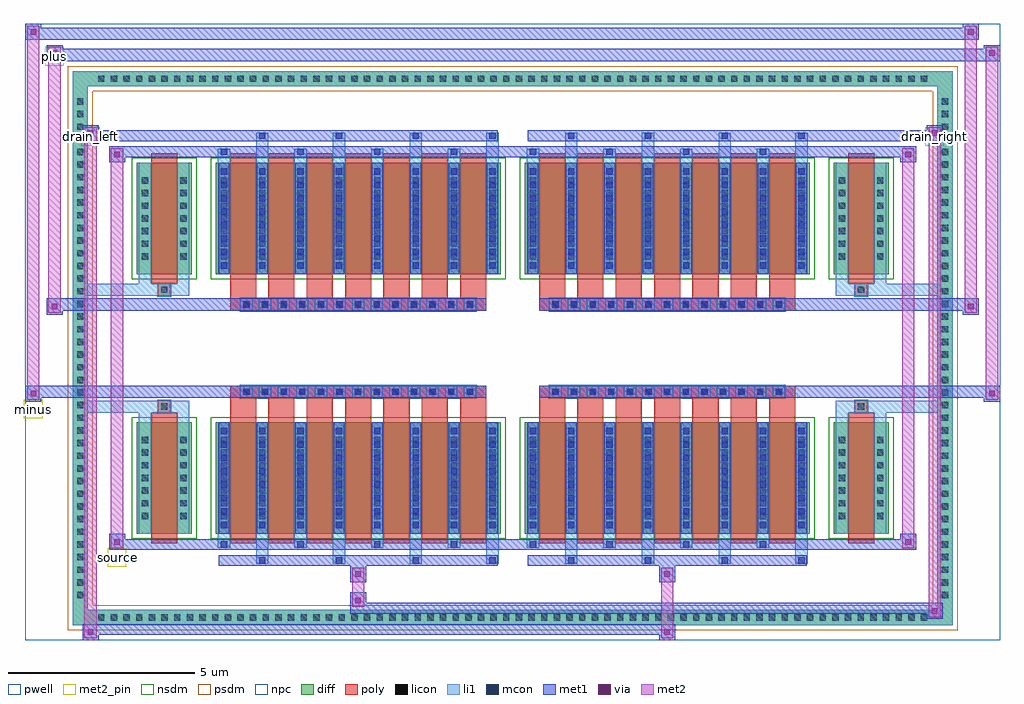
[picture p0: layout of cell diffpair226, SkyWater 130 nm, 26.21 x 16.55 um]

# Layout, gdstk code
import gdstk
lib = gdstk.Library(unit=1e-6, precision=5e-09)
def R(c, l, rs):  # rectangles x0, y0, x1, y1
    for r in rs: c.add(gdstk.rectangle(r[:2], r[2:], *l))
def A(c, l, x, y, w, h, nx, ny, dx, dy):  # array of equal rectangles
    R(c, l, [(x+i*dx, y+j*dy, x+i*dx+w, y+j*dy+h) for i in range(nx) for j in range(ny)])
def P(c, l, *ps):  # polygons
    for p in ps: c.add(gdstk.Polygon(p, *l))
pwell = (64, 44)
diff = (65, 20)
poly = (66, 20)
licon = (66, 44)
li1 = (67, 20)
mcon = (67, 44)
met1 = (68, 20)
via = (68, 44)
met2_pin = (69, 16)
met2 = (69, 20)
nsdm = (93, 44)
psdm = (94, 20)
npc = (95, 20)

diffpair226 = lib.new_cell('diffpair226')
R(diffpair226, pwell, [(-13.09,-7.84,13.09,8.71), (-10.41,-6.03,-0.01,-0.805), (0.01,-6.03,10.41,-0.805), (-10.41,0.805,-0.01,6.03), (0.01,0.805,10.41,6.03)])
A(diffpair226, diff, -11.255, -7.44, 0.41, 0.41, 66, 2, 0.34, 14.47)
A(diffpair226, diff, -11.82, -6.835, 0.41, 0.41, 1, 40, 0, 0.34)
A(diffpair226, diff, 11.41, -6.835, 0.41, 0.41, 1, 40, 0, 0.34)
R(diffpair226, diff, [(-11.255,-7.44,11.255,-7.03), (-11.82,-6.835,-11.41,6.835), (11.41,-6.835,11.82,6.835), (-10.1,-4.985,-8.62,-1.985), (-7.98,-4.985,-0.32,-1.985), (0.32,-4.985,7.98,-1.985), (8.62,-4.985,10.1,-1.985), (-10.1,1.985,-8.62,4.985), (-7.98,1.985,-0.32,4.985), (0.32,1.985,7.98,4.985), (8.62,1.985,10.1,4.985), (-11.255,7.03,11.255,7.44)])
P(diffpair226, diff, [(11.82,7.44),(-11.82,7.44),(-11.82,-7.03),(-11.41,-7.03),(-11.41,7.03),(11.41,7.03),(11.41,-7.03),(-11.41,-7.03),(-11.82,-7.03),(-11.82,-7.44),(11.82,-7.44)])
A(diffpair226, poly, -7.59, -5.235, 0.7, 3.5, 7, 2, 1.03, 6.97)
A(diffpair226, poly, 0.71, -5.235, 0.7, 3.5, 7, 2, 1.03, 6.97)
A(diffpair226, poly, -7.59, -1.735, 0.7, 0.4, 7, 2, 1.03, 3.07)
A(diffpair226, poly, 0.71, -1.735, 0.7, 0.4, 7, 2, 1.03, 3.07)
A(diffpair226, poly, -7.315, -1.335, 0.33, 0.33, 13, 2, 0.5, 2.34)
A(diffpair226, poly, 0.985, -1.335, 0.33, 0.33, 13, 2, 0.5, 2.34)
R(diffpair226, poly, [(-9.71,-5.235,-9.01,-1.735), (9.01,-5.235,9.71,-1.735), (-9.525,-1.735,-9.195,-1.405), (-9.525,-1.735,-9.195,-1.405), (9.195,-1.735,9.525,-1.405), (9.195,-1.735,9.525,-1.405), (-7.59,-1.335,-0.71,-1.005), (0.71,-1.335,7.59,-1.005), (-7.59,1.005,-0.71,1.335), (0.71,1.005,7.59,1.335), (-9.525,1.405,-9.195,1.735), (-9.525,1.405,-9.195,1.735), (9.195,1.405,9.525,1.735), (9.195,1.405,9.525,1.735), (-9.71,1.735,-9.01,5.235), (9.01,1.735,9.71,5.235)])
A(diffpair226, licon, -11.135, -7.32, 0.17, 0.17, 66, 2, 0.34, 14.47)
A(diffpair226, licon, -11.7, -6.715, 0.17, 0.17, 1, 40, 0, 0.34)
A(diffpair226, licon, 11.53, -6.715, 0.17, 0.17, 1, 40, 0, 0.34)
A(diffpair226, licon, -9.96, -4.59, 0.17, 0.17, 1, 7, 0, 0.34)
A(diffpair226, licon, -8.93, -4.59, 0.17, 0.17, 1, 7, 0, 0.34)
A(diffpair226, licon, -7.84, -4.59, 0.17, 0.17, 8, 7, 1.03, 0.34)
A(diffpair226, licon, 0.46, -4.59, 0.17, 0.17, 8, 7, 1.03, 0.34)
A(diffpair226, licon, 8.76, -4.59, 0.17, 0.17, 1, 7, 0, 0.34)
A(diffpair226, licon, 9.79, -4.59, 0.17, 0.17, 1, 7, 0, 0.34)
A(diffpair226, licon, -7.235, -1.255, 0.17, 0.17, 13, 2, 0.5, 2.34)
A(diffpair226, licon, 1.065, -1.255, 0.17, 0.17, 13, 2, 0.5, 2.34)
A(diffpair226, licon, -9.96, 2.38, 0.17, 0.17, 1, 7, 0, 0.34)
A(diffpair226, licon, -8.93, 2.38, 0.17, 0.17, 1, 7, 0, 0.34)
A(diffpair226, licon, -7.84, 2.38, 0.17, 0.17, 8, 7, 1.03, 0.34)
A(diffpair226, licon, 0.46, 2.38, 0.17, 0.17, 8, 7, 1.03, 0.34)
A(diffpair226, licon, 8.76, 2.38, 0.17, 0.17, 1, 7, 0, 0.34)
A(diffpair226, licon, 9.79, 2.38, 0.17, 0.17, 1, 7, 0, 0.34)
R(diffpair226, licon, [(-9.445,-1.655,-9.275,-1.485), (9.275,-1.655,9.445,-1.485), (-9.445,1.485,-9.275,1.655), (9.275,1.485,9.445,1.655)])
A(diffpair226, li1, -11.215, -7.4, 0.33, 0.33, 66, 2, 0.34, 14.47)
A(diffpair226, li1, -11.78, -6.795, 0.33, 0.33, 1, 40, 0, 0.34)
A(diffpair226, li1, 11.45, -6.795, 0.33, 0.33, 1, 40, 0, 0.34)
A(diffpair226, li1, -6.89, -5.79, 0.33, 0.805, 4, 2, 2.06, 10.775)
A(diffpair226, li1, -6.81, -5.79, 0.17, 0.17, 4, 2, 2.06, 11.41)
A(diffpair226, li1, 1.41, -5.79, 0.33, 0.805, 4, 2, 2.06, 10.775)
A(diffpair226, li1, 1.49, -5.79, 0.17, 0.17, 4, 2, 2.06, 11.41)
A(diffpair226, li1, -7.92, -5.36, 0.33, 0.375, 4, 2, 2.06, 10.345)
A(diffpair226, li1, -7.84, -5.36, 0.17, 0.17, 4, 2, 2.06, 10.55)
A(diffpair226, li1, 0.38, -5.36, 0.33, 0.375, 4, 2, 2.06, 10.345)
A(diffpair226, li1, 0.46, -5.36, 0.17, 0.17, 4, 2, 2.06, 10.55)
A(diffpair226, li1, -7.92, -4.985, 0.33, 3, 8, 2, 1.03, 6.97)
A(diffpair226, li1, 0.38, -4.985, 0.33, 3, 8, 2, 1.03, 6.97)
A(diffpair226, li1, -7.84, -4.83, 0.17, 0.17, 8, 8, 1.03, 0.36)
A(diffpair226, li1, -7.84, -4.83, 0.17, 2.69, 8, 2, 1.03, 6.97)
A(diffpair226, li1, 0.46, -4.83, 0.17, 0.17, 8, 8, 1.03, 0.36)
A(diffpair226, li1, 0.46, -4.83, 0.17, 2.69, 8, 2, 1.03, 6.97)
A(diffpair226, li1, -10.04, -4.67, 0.33, 0.33, 1, 7, 0, 0.34)
A(diffpair226, li1, -9.01, -4.67, 0.33, 0.33, 1, 7, 0, 0.34)
A(diffpair226, li1, -7.92, -4.67, 0.33, 0.33, 8, 7, 1.03, 0.34)
A(diffpair226, li1, 0.38, -4.67, 0.33, 0.33, 8, 7, 1.03, 0.34)
A(diffpair226, li1, 8.68, -4.67, 0.33, 0.33, 1, 7, 0, 0.34)
A(diffpair226, li1, 9.71, -4.67, 0.33, 0.33, 1, 7, 0, 0.34)
A(diffpair226, li1, -7.315, -1.335, 0.33, 0.33, 13, 2, 0.5, 2.34)
A(diffpair226, li1, 0.985, -1.335, 0.33, 0.33, 13, 2, 0.5, 2.34)
A(diffpair226, li1, -7.84, 2.14, 0.17, 0.17, 8, 8, 1.03, 0.36)
A(diffpair226, li1, 0.46, 2.14, 0.17, 0.17, 8, 8, 1.03, 0.36)
A(diffpair226, li1, -10.04, 2.3, 0.33, 0.33, 1, 7, 0, 0.34)
A(diffpair226, li1, -9.01, 2.3, 0.33, 0.33, 1, 7, 0, 0.34)
A(diffpair226, li1, -7.92, 2.3, 0.33, 0.33, 8, 7, 1.03, 0.34)
A(diffpair226, li1, 0.38, 2.3, 0.33, 0.33, 8, 7, 1.03, 0.34)
A(diffpair226, li1, 8.68, 2.3, 0.33, 0.33, 1, 7, 0, 0.34)
A(diffpair226, li1, 9.71, 2.3, 0.33, 0.33, 1, 7, 0, 0.34)
R(diffpair226, li1, [(-11.82,-7.44,-11.41,-7.03), (-11.82,-7.44,-11.41,-7.03), (-11.41,-7.44,11.41,-7.03), (11.41,-7.44,11.82,-7.03), (11.41,-7.44,11.82,-7.03), (-11.82,-7.03,-11.41,7.03), (11.41,-7.03,11.82,7.03), (-10.04,-4.985,-9.71,-1.985), (-9.01,-4.985,-8.68,-1.985), (8.68,-4.985,9.01,-1.985), (9.71,-4.985,10.04,-1.985), (-10.04,-1.985,-9.71,-1.405), (-9.01,-1.985,-8.68,-1.405), (8.68,-1.985,9.01,-1.405), (9.71,-1.985,10.04,-1.405), (-11.82,-1.735,-9.525,-1.405), (-10.04,-1.735,-9.525,-1.405), (-9.525,-1.735,-9.195,-1.405), (-9.195,-1.735,-8.68,-1.405), (8.68,-1.735,9.195,-1.405), (9.195,-1.735,9.525,-1.405), (9.195,-1.735,11.82,-1.405), (9.525,-1.735,10.04,-1.405), (-11.82,1.405,-9.525,1.735), (-10.04,1.405,-9.525,1.735), (-10.04,1.405,-9.71,1.985), (-9.525,1.405,-9.195,1.735), (-9.195,1.405,-8.68,1.735), (-9.01,1.405,-8.68,1.985), (8.68,1.405,9.195,1.735), (8.68,1.405,9.01,1.985), (9.195,1.405,9.525,1.735), (9.195,1.405,11.82,1.735), (9.525,1.405,10.04,1.735), (9.71,1.405,10.04,1.985), (-10.04,1.985,-9.71,4.985), (-9.01,1.985,-8.68,4.985), (8.68,1.985,9.01,4.985), (9.71,1.985,10.04,4.985), (-11.82,7.03,-11.41,7.44), (-11.82,7.03,-11.41,7.44), (-11.41,7.03,11.41,7.44), (11.41,7.03,11.82,7.44), (11.41,7.03,11.82,7.44)])
A(diffpair226, mcon, -6.81, -5.79, 0.17, 0.17, 4, 2, 2.06, 11.41)
A(diffpair226, mcon, 1.49, -5.79, 0.17, 0.17, 4, 2, 2.06, 11.41)
A(diffpair226, mcon, -7.84, -5.36, 0.17, 0.17, 4, 2, 2.06, 10.55)
A(diffpair226, mcon, 0.46, -5.36, 0.17, 0.17, 4, 2, 2.06, 10.55)
A(diffpair226, mcon, -7.84, -4.83, 0.17, 0.17, 8, 8, 1.03, 0.36)
A(diffpair226, mcon, 0.46, -4.83, 0.17, 0.17, 8, 8, 1.03, 0.36)
A(diffpair226, mcon, -7.235, -1.255, 0.17, 0.17, 13, 2, 0.5, 2.34)
A(diffpair226, mcon, 1.065, -1.255, 0.17, 0.17, 13, 2, 0.5, 2.34)
A(diffpair226, mcon, -7.84, 2.14, 0.17, 0.17, 8, 8, 1.03, 0.36)
A(diffpair226, mcon, 0.46, 2.14, 0.17, 0.17, 8, 8, 1.03, 0.36)
A(diffpair226, met1, -6.87, -5.85, 0.29, 0.29, 4, 2, 2.06, 11.41)
A(diffpair226, met1, 1.43, -5.85, 0.29, 0.29, 4, 2, 2.06, 11.41)
A(diffpair226, met1, -7.9, -5.42, 0.29, 0.29, 4, 2, 2.06, 10.55)
A(diffpair226, met1, 0.4, -5.42, 0.29, 0.29, 4, 2, 2.06, 10.55)
A(diffpair226, met1, -7.9, -4.985, 0.29, 3, 8, 2, 1.03, 6.97)
A(diffpair226, met1, 0.4, -4.985, 0.29, 3, 8, 2, 1.03, 6.97)
A(diffpair226, met1, -7.9, -4.89, 0.29, 0.29, 8, 8, 1.03, 0.36)
A(diffpair226, met1, 0.4, -4.89, 0.29, 0.29, 8, 8, 1.03, 0.36)
A(diffpair226, met1, -7.295, -1.315, 0.29, 0.29, 13, 2, 0.5, 2.34)
A(diffpair226, met1, 1.005, -1.315, 0.29, 0.29, 13, 2, 0.5, 2.34)
A(diffpair226, met1, -7.9, 2.08, 0.29, 0.29, 8, 8, 1.03, 0.36)
A(diffpair226, met1, 0.4, 2.08, 0.29, 0.29, 8, 8, 1.03, 0.36)
R(diffpair226, met1, [(-11.55,-7.84,-11.12,-7.41), (3.935,-7.84,4.365,-7.41), (-11.55,-7.7,4.365,-7.41), (11.12,-7.27,11.55,-6.84), (-4.365,-7.13,11.55,-6.84), (-4.365,-6.99,-3.935,-6.56), (-4.365,-6.28,-3.935,-5.85), (3.935,-6.28,4.365,-5.85), (-7.9,-5.85,-0.4,-5.56), (0.4,-5.85,7.9,-5.56), (-10.84,-5.42,-10.41,-4.99), (-10.84,-5.42,-7.9,-5.13), (-7.9,-5.42,-0.4,-5.13), (-0.4,-5.42,0.4,-5.13), (0.4,-5.42,7.9,-5.13), (7.9,-5.42,10.84,-5.13), (10.41,-5.42,10.84,-4.99), (-13.09,-1.435,-12.66,-1.005), (12.66,-1.435,13.09,-1.005), (-13.09,-1.335,-0.71,-1.005), (-7.59,-1.335,-0.71,-1.005), (0.71,-1.335,7.59,-1.005), (0.71,-1.335,13.09,-1.005), (-12.52,0.905,-12.09,1.335), (12.09,0.905,12.52,1.335), (-12.52,1.005,-7.59,1.335), (-7.59,1.005,-0.71,1.335), (0.71,1.005,7.59,1.335), (7.59,1.005,12.52,1.335), (-10.84,4.99,-10.41,5.42), (10.41,4.99,10.84,5.42), (-10.84,5.13,-7.9,5.42), (-7.9,5.13,-0.4,5.42), (-0.4,5.13,0.4,5.42), (0.4,5.13,7.9,5.42), (7.9,5.13,10.84,5.42), (-11.55,5.56,-11.12,5.99), (-11.55,5.56,-7.9,5.85), (-7.9,5.56,-0.4,5.85), (0.4,5.56,7.9,5.85), (7.9,5.56,11.55,5.85), (11.12,5.56,11.55,5.99), (-12.52,7.71,-12.09,8.14), (-12.52,7.71,-10.41,8.04), (-10.41,7.71,10.41,8.04), (10.41,7.71,13.09,8.04), (12.66,7.71,13.09,8.14), (-13.09,8.28,-12.66,8.71), (-13.09,8.28,-10.41,8.61), (-10.41,8.28,10.41,8.61), (10.41,8.28,12.52,8.61), (12.09,8.28,12.52,8.71)])
R(diffpair226, via, [(-11.41,-7.7,-11.26,-7.55), (4.075,-7.7,4.225,-7.55), (11.26,-7.13,11.41,-6.98), (-4.225,-6.85,-4.075,-6.7), (-4.225,-6.14,-4.075,-5.99), (4.075,-6.14,4.225,-5.99), (-10.7,-5.28,-10.55,-5.13), (10.55,-5.28,10.7,-5.13), (-12.95,-1.295,-12.8,-1.145), (12.8,-1.295,12.95,-1.145), (-12.38,1.045,-12.23,1.195), (12.23,1.045,12.38,1.195), (-10.7,5.13,-10.55,5.28), (10.55,5.13,10.7,5.28), (-11.41,5.7,-11.26,5.85), (11.26,5.7,11.41,5.85), (-12.38,7.85,-12.23,8), (12.8,7.85,12.95,8), (-12.95,8.42,-12.8,8.57), (12.23,8.42,12.38,8.57)])
R(diffpair226, met2_pin, [(-10.875,-5.87,-10.375,-5.37), (-13.125,-1.885,-12.625,-1.385), (-11.585,5.44,-11.085,5.94), (11.085,5.44,11.585,5.94), (-12.555,7.59,-12.055,8.09)])
R(diffpair226, met2, [(-11.5,-7.79,-11.17,-7.46), (-11.5,-7.79,-11.17,5.94), (3.985,-7.79,4.315,-7.46), (3.985,-7.46,4.315,-6.23), (11.17,-7.22,11.5,-6.89), (11.17,-7.22,11.5,5.94), (-4.315,-6.94,-3.985,-6.61), (-4.315,-6.61,-3.985,-6.23), (-4.315,-6.23,-3.985,-5.9), (3.985,-6.23,4.315,-5.9), (-10.79,-5.37,-10.46,-5.04), (-10.79,-5.37,-10.46,5.37), (10.46,-5.37,10.79,-5.04), (10.46,-5.37,10.79,5.37), (-13.04,-1.385,-12.71,-1.055), (-13.04,-1.385,-12.71,8.66), (12.71,-1.385,13.04,-1.055), (12.71,-1.385,13.04,8.09), (-12.47,0.955,-12.14,1.285), (-12.47,0.955,-12.14,8.09), (12.14,0.955,12.47,1.285), (12.14,0.955,12.47,8.66), (-10.79,5.04,-10.46,5.37), (10.46,5.04,10.79,5.37), (-11.5,5.61,-11.17,5.94), (11.17,5.61,11.5,5.94), (-12.47,7.76,-12.14,8.09), (12.71,7.76,13.04,8.09), (-13.04,8.33,-12.71,8.66), (12.14,8.33,12.47,8.66)])
P(diffpair226, met2, [(13.04,-1.385),(13.04,-1.385),(13.04,-1.055),(13.04,-1.055)],
  [(13.04,7.76),(13.04,7.76),(13.04,8.09),(13.04,8.09)],
  [(-12.71,-1.385),(-12.71,-1.385),(-12.71,-1.055),(-12.71,-1.055)],
  [(-12.71,8.33),(-12.71,8.33),(-12.71,8.66),(-12.71,8.66)],
  [(12.47,0.955),(12.47,0.955),(12.47,1.285),(12.47,1.285)],
  [(12.47,8.33),(12.47,8.33),(12.47,8.66),(12.47,8.66)],
  [(-12.14,0.955),(-12.14,0.955),(-12.14,1.285),(-12.14,1.285)],
  [(-12.14,7.76),(-12.14,7.76),(-12.14,8.09),(-12.14,8.09)],
  [(-11.17,-7.79),(-11.17,-7.79),(-11.17,-7.46),(-11.17,-7.46)],
  [(-11.17,5.61),(-11.17,5.61),(-11.17,5.94),(-11.17,5.94)],
  [(11.5,-7.22),(11.5,-7.22),(11.5,-6.89),(11.5,-6.89)],
  [(11.5,5.61),(11.5,5.61),(11.5,5.94),(11.5,5.94)],
  [(-10.46,-5.37),(-10.46,-5.37),(-10.46,-5.04),(-10.46,-5.04)],
  [(-10.46,5.04),(-10.46,5.04),(-10.46,5.37),(-10.46,5.37)],
  [(10.79,-5.37),(10.79,-5.37),(10.79,-5.04),(10.79,-5.04)],
  [(10.79,5.04),(10.79,5.04),(10.79,5.37),(10.79,5.37)])
R(diffpair226, nsdm, [(-10.23,-5.115,-8.49,-1.855), (-8.11,-5.115,-0.19,-1.855), (0.19,-5.115,8.11,-1.855), (8.49,-5.115,10.23,-1.855), (-10.23,1.855,-8.49,5.115), (-8.11,1.855,-0.19,5.115), (0.19,1.855,8.11,5.115), (8.49,1.855,10.23,5.115)])
P(diffpair226, psdm, [(11.95,7.57),(-11.95,7.57),(-11.95,-6.9),(-11.28,-6.9),(-11.28,6.9),(11.28,6.9),(11.28,-6.9),(-11.28,-6.9),(-11.95,-6.9),(-11.95,-7.57),(11.95,-7.57)])
A(diffpair226, npc, -7.335, -1.355, 0.37, 0.37, 13, 2, 0.5, 2.34)
A(diffpair226, npc, 0.965, -1.355, 0.37, 0.37, 13, 2, 0.5, 2.34)
R(diffpair226, npc, [(-9.545,-1.755,-9.175,-1.385), (9.175,-1.755,9.545,-1.385), (-7.335,-1.355,-6.465,-0.985), (-7.335,-1.355,-6.465,-0.985), (-6.835,-1.355,-5.965,-0.985), (-6.835,-1.355,-5.965,-0.985), (-6.335,-1.355,-5.465,-0.985), (-6.335,-1.355,-5.465,-0.985), (-5.835,-1.355,-4.965,-0.985), (-5.835,-1.355,-4.965,-0.985), (-5.335,-1.355,-4.465,-0.985), (-5.335,-1.355,-4.465,-0.985), (-4.835,-1.355,-3.965,-0.985), (-4.835,-1.355,-3.965,-0.985), (-4.335,-1.355,-3.465,-0.985), (-4.335,-1.355,-3.465,-0.985), (-3.835,-1.355,-2.965,-0.985), (-3.835,-1.355,-2.965,-0.985), (-3.335,-1.355,-2.465,-0.985), (-3.335,-1.355,-2.465,-0.985), (-2.835,-1.355,-1.965,-0.985), (-2.835,-1.355,-1.965,-0.985), (-2.335,-1.355,-1.465,-0.985), (-2.335,-1.355,-1.465,-0.985), (-1.835,-1.355,-0.965,-0.985), (-1.835,-1.355,-0.965,-0.985), (0.965,-1.355,1.835,-0.985), (0.965,-1.355,1.835,-0.985), (1.465,-1.355,2.335,-0.985), (1.465,-1.355,2.335,-0.985), (1.965,-1.355,2.835,-0.985), (1.965,-1.355,2.835,-0.985), (2.465,-1.355,3.335,-0.985), (2.465,-1.355,3.335,-0.985), (2.965,-1.355,3.835,-0.985), (2.965,-1.355,3.835,-0.985), (3.465,-1.355,4.335,-0.985), (3.465,-1.355,4.335,-0.985), (3.965,-1.355,4.835,-0.985), (3.965,-1.355,4.835,-0.985), (4.465,-1.355,5.335,-0.985), (4.465,-1.355,5.335,-0.985), (4.965,-1.355,5.835,-0.985), (4.965,-1.355,5.835,-0.985), (5.465,-1.355,6.335,-0.985), (5.465,-1.355,6.335,-0.985), (5.965,-1.355,6.835,-0.985), (5.965,-1.355,6.835,-0.985), (6.465,-1.355,7.335,-0.985), (6.465,-1.355,7.335,-0.985), (-7.335,0.985,-6.465,1.355), (-7.335,0.985,-6.465,1.355), (-6.835,0.985,-5.965,1.355), (-6.835,0.985,-5.965,1.355), (-6.335,0.985,-5.465,1.355), (-6.335,0.985,-5.465,1.355), (-5.835,0.985,-4.965,1.355), (-5.835,0.985,-4.965,1.355), (-5.335,0.985,-4.465,1.355), (-5.335,0.985,-4.465,1.355), (-4.835,0.985,-3.965,1.355), (-4.835,0.985,-3.965,1.355), (-4.335,0.985,-3.465,1.355), (-4.335,0.985,-3.465,1.355), (-3.835,0.985,-2.965,1.355), (-3.835,0.985,-2.965,1.355), (-3.335,0.985,-2.465,1.355), (-3.335,0.985,-2.465,1.355), (-2.835,0.985,-1.965,1.355), (-2.835,0.985,-1.965,1.355), (-2.335,0.985,-1.465,1.355), (-2.335,0.985,-1.465,1.355), (-1.835,0.985,-0.965,1.355), (-1.835,0.985,-0.965,1.355), (0.965,0.985,1.835,1.355), (0.965,0.985,1.835,1.355), (1.465,0.985,2.335,1.355), (1.465,0.985,2.335,1.355), (1.965,0.985,2.835,1.355), (1.965,0.985,2.835,1.355), (2.465,0.985,3.335,1.355), (2.465,0.985,3.335,1.355), (2.965,0.985,3.835,1.355), (2.965,0.985,3.835,1.355), (3.465,0.985,4.335,1.355), (3.465,0.985,4.335,1.355), (3.965,0.985,4.835,1.355), (3.965,0.985,4.835,1.355), (4.465,0.985,5.335,1.355), (4.465,0.985,5.335,1.355), (4.965,0.985,5.835,1.355), (4.965,0.985,5.835,1.355), (5.465,0.985,6.335,1.355), (5.465,0.985,6.335,1.355), (5.965,0.985,6.835,1.355), (5.965,0.985,6.835,1.355), (6.465,0.985,7.335,1.355), (6.465,0.985,7.335,1.355), (-9.545,1.385,-9.175,1.755), (9.175,1.385,9.545,1.755)])
diffpair226.add(gdstk.Label('minus', (-12.875,-1.635), layer=69, texttype=5))
diffpair226.add(gdstk.Label('drain_right', (11.335,5.69), layer=69, texttype=5))
diffpair226.add(gdstk.Label('drain_left', (-11.335,5.69), layer=69, texttype=5))
diffpair226.add(gdstk.Label('source', (-10.625,-5.62), layer=69, texttype=5))
diffpair226.add(gdstk.Label('plus', (-12.305,7.84), layer=69, texttype=5))

lib.write_gds('diffpair226.gds')
